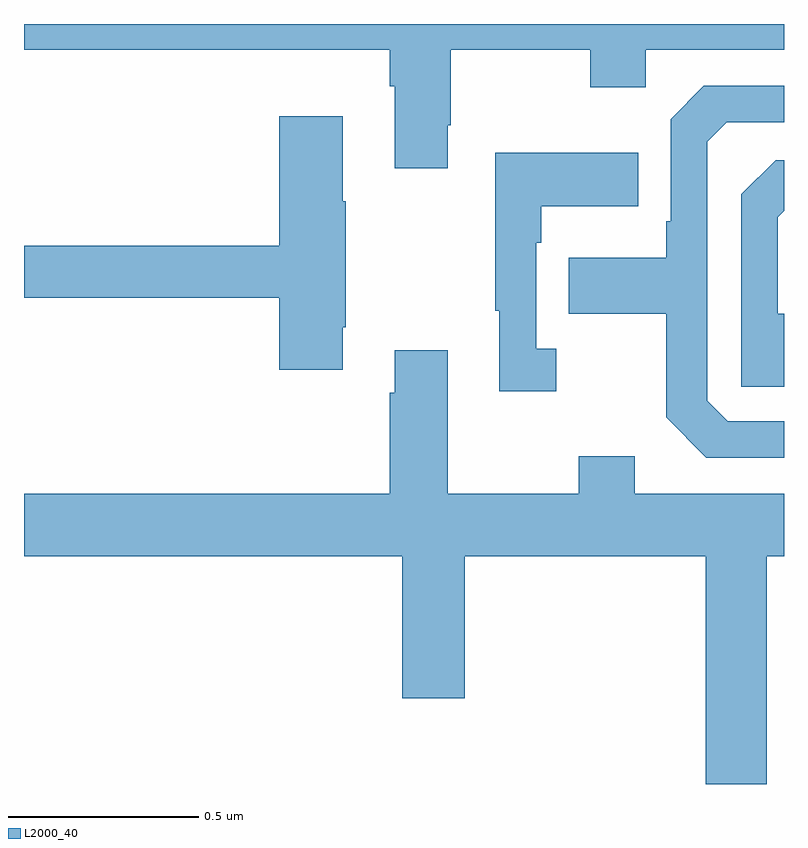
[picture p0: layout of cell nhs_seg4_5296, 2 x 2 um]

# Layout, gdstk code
import gdstk
lib = gdstk.Library(unit=1e-6, precision=1e-09)
def P(c, l, *ps):  # polygons
    for p in ps: c.add(gdstk.Polygon(p, *l))
L2000_40 = (2000, 40)

nhs_seg4_5296 = lib.new_cell('nhs_seg4_5296')
P(nhs_seg4_5296, L2000_40, [(177.115,784.633),(177.123,784.633),(177.123,784.832),(177.49,784.832),(177.49,784.733),(177.636,784.733),(177.636,784.832),(178,784.832),(178,784.9),(176,784.9),(176,784.832),(176.963,784.832),(176.963,784.736),(176.975,784.736),(176.975,784.521),(177.115,784.521)],
  [(178,783.855),(177.852,783.855),(177.798,783.909),(177.798,784.59),(177.849,784.641),(178,784.641),(178,784.737),(177.789,784.737),(177.702,784.65),(177.702,784.381),(177.69,784.381),(177.69,784.285),(177.433,784.285),(177.433,784.138),(177.69,784.138),(177.69,783.865),(177.795,783.759),(178,783.759)],
  [(176.839,784.102),(176.847,784.102),(176.847,784.433),(176.839,784.433),(176.839,784.657),(176.672,784.657),(176.672,784.316),(176,784.316),(176,784.18),(176.672,784.18),(176.672,783.99),(176.839,783.99)],
  [(177.4,784.046),(177.348,784.046),(177.348,784.325),(177.361,784.325),(177.361,784.421),(177.617,784.421),(177.617,784.561),(177.24,784.561),(177.24,784.145),(177.251,784.145),(177.251,783.933),(177.4,783.933)],
  [(178,784.138),(177.984,784.138),(177.984,784.392),(178,784.408),(178,784.542),(177.978,784.542),(177.888,784.452),(177.888,783.945),(178,783.945)],
  [(177.954,783.5),(178,783.5),(178,783.664),(177.607,783.664),(177.607,783.763),(177.46,783.763),(177.46,783.664),(177.115,783.664),(177.115,784.042),(176.975,784.042),(176.975,783.929),(176.963,783.929),(176.963,783.664),(176,783.664),(176,783.5),(176.996,783.5),(176.996,783.126),(177.16,783.126),(177.16,783.5),(177.794,783.5),(177.794,782.9),(177.954,782.9)])

lib.write_gds('nhs_seg4_5296.gds')
